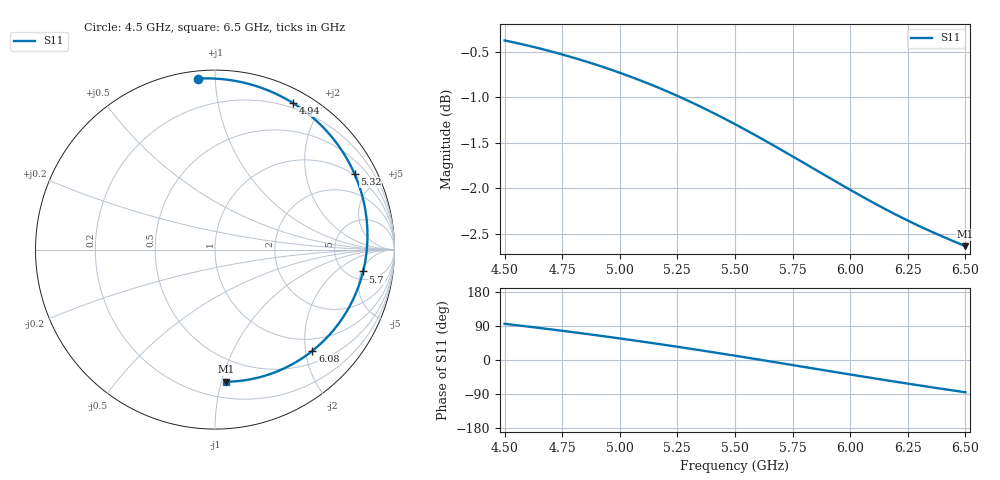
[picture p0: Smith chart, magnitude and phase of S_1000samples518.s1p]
! TOUCHSTONE file generated by CST MICROWAVE STUDIO
! Date and time: Fri Oct 28 10:53:22 2022
! Project name: L.cst
! Parameters = {Di=1.27; Epsilon_r=1.56; InnerDiameter=1.27; Length=2; Lf=10; Lg=60; OuterConductorThickness=0.2921; OuterDiameter=3.6; Wf=3; Wp=41.2; de=1.5; df=6.8; g=0.8; gx=2.27579; gy=4.56143; h=2.34; hf=1.524; px=9.73137; py=12.0264; w=9.7; wx=7.45558; wy=7.46501}
! Header version: 2018
! Port assignment regex: !\s*Touchstone port\s*([0-9]+)\s*=\s*(CST MWS port|CST DS port)\s*([0-9]+|Zmin|Zmax)\s*\(\"(.*)\"\)(\s*mode\s*([0-9]+))?.*
! Touchstone port assignment:
! Touchstone port 1 = CST MWS port 1 ("")
# GHz S DB R 50
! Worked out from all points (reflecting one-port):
!   101 points, 4.5 GHz to 6.5 GHz, reference 50 ohm
!   lowest |S11| = -2.6 dB at 6.5 GHz (marker M1), VSWR 6.65, Z = 16 - j51.8 ohm
!   phase of S11 starts at 96 deg and turns -181 deg over the sweep
!   S11 on the Smith chart (normalised r, x): 4.5 GHz: 0.04, +0.91; 4.94 GHz: 0.15, +1.66; 5.32 GHz: 0.96, +3.71; 5.7 GHz: 6.71, -5.36; 6.08 GHz: 0.74, -2.14; 6.5 GHz: 0.32, -1.04
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4.5  -0.38 95.5
4.58  -0.42 89.8
4.64  -0.46 85.4
4.76  -0.54 76.3
4.86  -0.61 68.4
4.94  -0.68 61.9
5  -0.73 56.9
5.06  -0.79 51.8
5.12  -0.85 46.6
5.2  -0.93 39.4
5.26  -1.00 34.0
5.32  -1.07 28.4
5.42  -1.19 19.0
5.5  -1.30 11.3
5.6  -1.43 1.5
5.7  -1.58 -8.4
5.76  -1.66 -14.4
5.82  -1.75 -20.3
5.88  -1.84 -26.3
5.94  -1.93 -32.3
6  -2.01 -38.2
6.08  -2.13 -46.1
6.16  -2.24 -53.8
6.26  -2.36 -63.3
6.32  -2.44 -68.9
6.38  -2.50 -74.4
6.44  -2.57 -79.8
6.5  -2.63 -85.2
